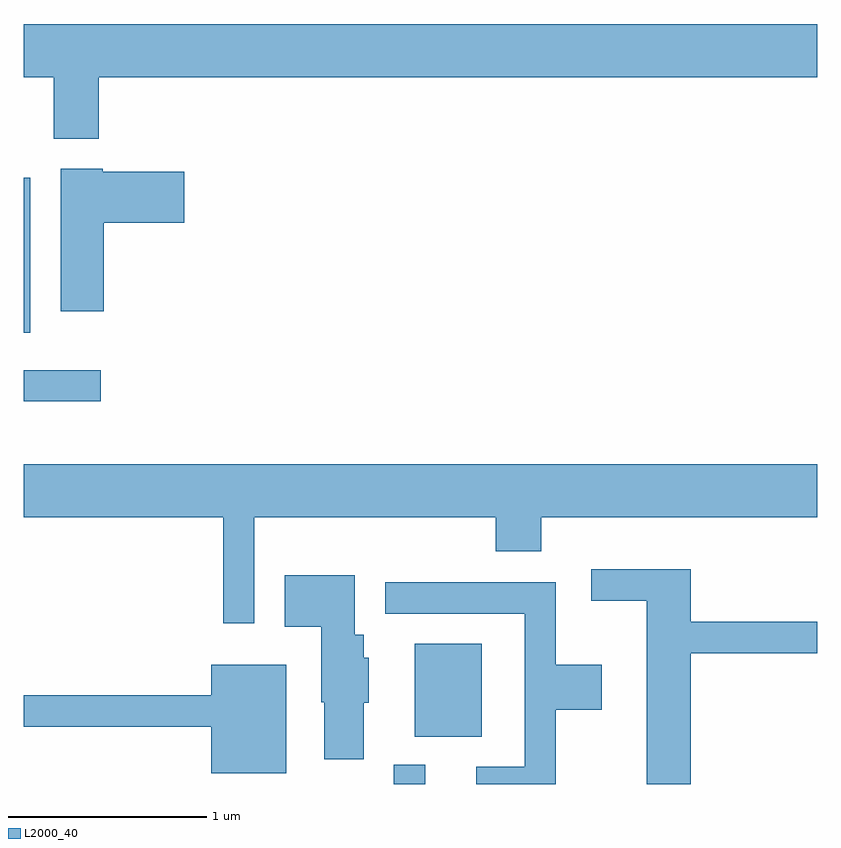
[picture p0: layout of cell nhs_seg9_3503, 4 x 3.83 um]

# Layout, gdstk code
import gdstk
lib = gdstk.Library(unit=1e-6, precision=1e-09)
def R(c, l, rs):  # rectangles x0, y0, x1, y1
    for r in rs: c.add(gdstk.rectangle(r[:2], r[2:], *l))
def P(c, l, *ps):  # polygons
    for p in ps: c.add(gdstk.Polygon(p, *l))
L2000_40 = (2000, 40)

nhs_seg9_3503 = lib.new_cell('nhs_seg9_3503')
R(nhs_seg9_3503, L2000_40, [(289.476,2030.432,289.634,2030.528), (289.581,2030.671,289.919,2031.139), (287.611,2032.361,287.998,2032.519), (287.611,2032.706,287.644,2033.489)])
P(nhs_seg9_3503, L2000_40, [(287.989,2033.996),(291.611,2033.996),(291.611,2034.264),(287.611,2034.264),(287.611,2033.996),(287.761,2033.996),(287.761,2033.686),(287.989,2033.686)],
  [(288.014,2033.261),(288.419,2033.261),(288.419,2033.519),(288.01,2033.519),(288.01,2033.534),(287.796,2033.534),(287.796,2032.816),(288.014,2032.816)],
  [(288.774,2031.776),(289.991,2031.776),(289.991,2031.606),(290.219,2031.606),(290.219,2031.776),(291.611,2031.776),(291.611,2032.044),(287.611,2032.044),(287.611,2031.776),(288.616,2031.776),(288.616,2031.243),(288.774,2031.243)],
  [(290.974,2031.091),(291.611,2031.091),(291.611,2031.249),(290.974,2031.249),(290.974,2031.514),(290.473,2031.514),(290.473,2031.356),(290.751,2031.356),(290.751,2030.432),(290.974,2030.432)],
  [(289.324,2030.841),(289.349,2030.841),(289.349,2031.069),(289.324,2031.069),(289.324,2031.184),(289.279,2031.184),(289.279,2031.484),(288.926,2031.484),(288.926,2031.226),(289.111,2031.226),(289.111,2030.845),(289.126,2030.845),(289.126,2030.556),(289.324,2030.556)],
  [(290.294,2030.806),(290.524,2030.806),(290.524,2031.034),(290.294,2031.034),(290.294,2031.449),(289.433,2031.449),(289.433,2031.291),(290.136,2031.291),(290.136,2030.519),(289.893,2030.519),(289.893,2030.432),(290.294,2030.432)],
  [(288.934,2031.034),(288.556,2031.034),(288.556,2030.879),(287.611,2030.879),(287.611,2030.721),(288.556,2030.721),(288.556,2030.486),(288.934,2030.486)])

lib.write_gds('nhs_seg9_3503.gds')
